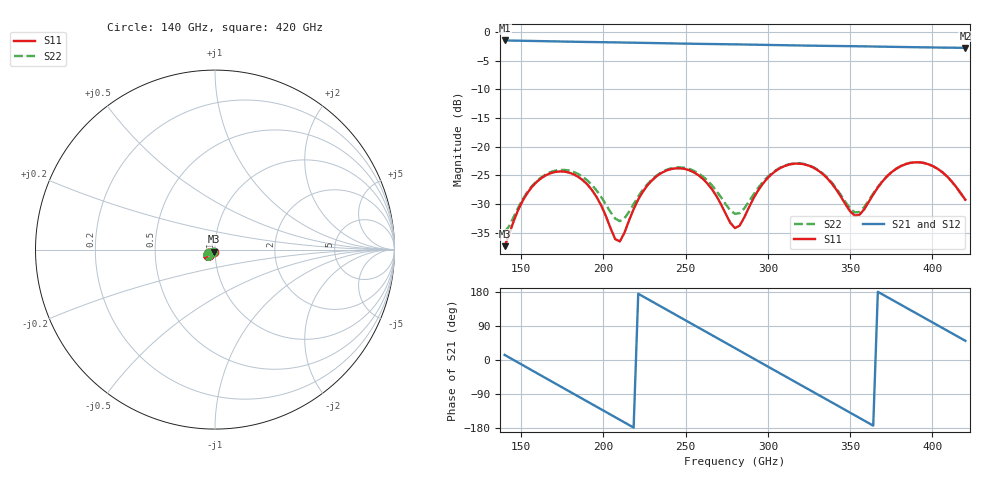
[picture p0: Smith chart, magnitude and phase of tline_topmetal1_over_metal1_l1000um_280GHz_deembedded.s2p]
! Created with skrf 2.2.0 (http://scikit-rf.org).
# GHz S DB R 50.0
! Port[1] = P1
! Port[2] = P2
!freq dBS11 angS11 dBS21 angS21 dBS12 angS12 dBS22 angS22
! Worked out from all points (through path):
!   101 points, 140 GHz to 420 GHz, reference 50 ohm
!   highest |S21| = -1.45 dB at 140 GHz (marker M1); lowest = -2.7 dB at 420 GHz (marker M2)
!   group delay of S21, straight-line fit = 6.77 ps
!   lowest |S11| = -37.4 dB at 140 GHz (marker M3), VSWR 1.03, Z = 49.2 - j1.06 ohm
!   |S11| at or under -10 dB: start of sweep to end of sweep
!   |S22| runs from -34.9 to -22.7 dB; largest |S21 - S12| = 9.6e-14
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140  -37.37 -127.2  -1.45 13.4  -1.45 13.4  -34.87 -136.5
151.2  -29.32 -103.6  -1.50 -14.0  -1.50 -14.0  -29.09 -108.7
159.6  -26.12 -115.2  -1.55 -34.6  -1.55 -34.6  -25.98 -116.6
173.6  -24.32 -141.5  -1.63 -68.9  -1.63 -68.9  -24.06 -139.4
187.6  -25.87 -167.3  -1.70 -103.0  -1.70 -103.0  -25.28 -162.0
210  -36.55 -133.7  -1.80 -157.8  -1.80 -157.8  -33.00 -141.7
221.2  -29.23 -102.1  -1.85 174.8  -1.85 174.8  -28.70 -112.7
235.2  -24.60 -120.7  -1.92 140.6  -1.92 140.6  -24.49 -124.6
246.4  -23.77 -140.8  -1.98 113.3  -1.98 113.3  -23.61 -141.8
257.6  -24.95 -159.9  -2.04 86.0  -2.04 86.0  -24.61 -158.4
280  -34.21 -141.1  -2.13 31.4  -2.13 31.4  -31.73 -144.0
291.2  -29.04 -103.3  -2.18 4.1  -2.18 4.1  -28.38 -113.3
302.4  -24.76 -112.4  -2.24 -23.2  -2.24 -23.2  -24.62 -118.5
316.4  -22.96 -134.9  -2.31 -57.3  -2.31 -57.3  -22.91 -138.3
327.6  -23.65 -153.2  -2.36 -84.5  -2.36 -84.5  -23.58 -155.1
338.8  -26.42 -166.0  -2.40 -111.8  -2.40 -111.8  -26.25 -166.7
352.8  -32.03 -142.5  -2.45 -145.9  -2.45 -145.9  -31.47 -144.1
364  -28.35 -108.9  -2.50 -173.2  -2.50 -173.2  -28.18 -111.8
375.2  -24.44 -114.8  -2.56 159.5  -2.56 159.5  -24.40 -116.5
397.6  -23.07 -147.9  -2.66 105.1  -2.66 105.1  -23.06 -148.1
408.8  -25.18 -161.4  -2.70 77.9  -2.70 77.9  -25.18 -161.1
420  -29.26 -158.3  -2.74 50.6  -2.74 50.6  -29.35 -157.4
